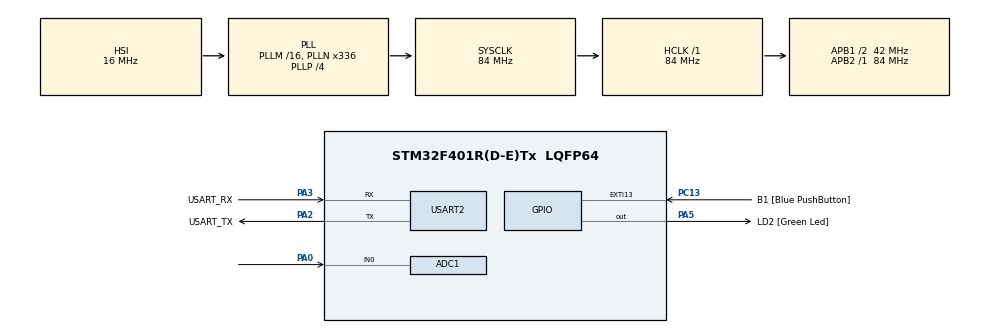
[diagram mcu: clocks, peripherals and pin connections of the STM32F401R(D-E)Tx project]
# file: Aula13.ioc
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ADC1.Channel-0\#ChannelRegularConversion=ADC_CHANNEL_TEMPSENSOR
ADC1.Channel-2\#ChannelRegularConversion=ADC_CHANNEL_VREFINT
ADC1.Channel-3\#ChannelRegularConversion=ADC_CHANNEL_0
ADC1.Channel-4\#ChannelRegularConversion=ADC_CHANNEL_0
ADC1.NbrOfConversion=4
ADC1.NbrOfConversionFlag=1
ADC1.Rank-0\#ChannelRegularConversion=1
ADC1.Rank-2\#ChannelRegularConversion=2
ADC1.Rank-3\#ChannelRegularConversion=3
ADC1.Rank-4\#ChannelRegularConversion=4
ADC1.SamplingTime-0\#ChannelRegularConversion=ADC_SAMPLETIME_480CYCLES
ADC1.SamplingTime-2\#ChannelRegularConversion=ADC_SAMPLETIME_480CYCLES
ADC1.SamplingTime-3\#ChannelRegularConversion=ADC_SAMPLETIME_3CYCLES
ADC1.SamplingTime-4\#ChannelRegularConversion=ADC_SAMPLETIME_3CYCLES
ADC1.master=1
Dma.Request0=USART2_TX
Dma.USART2_TX.0.Direction=DMA_MEMORY_TO_PERIPH
Dma.USART2_TX.0.FIFOMode=DMA_FIFOMODE_DISABLE
Dma.USART2_TX.0.Instance=DMA1_Stream6
Dma.USART2_TX.0.MemDataAlignment=DMA_MDATAALIGN_BYTE
Dma.USART2_TX.0.MemInc=DMA_MINC_ENABLE
Dma.USART2_TX.0.Mode=DMA_NORMAL
Dma.USART2_TX.0.PeriphDataAlignment=DMA_PDATAALIGN_BYTE
Dma.USART2_TX.0.PeriphInc=DMA_PINC_DISABLE
Dma.USART2_TX.0.Priority=DMA_PRIORITY_LOW
Mcu.Family=STM32F4
Mcu.Name=STM32F401R(D-E)Tx
Mcu.Package=LQFP64
NVIC.ADC_IRQn=true\:0\:0\:false\:false\:true\:true\:true\:true
NVIC.DMA1_Stream6_IRQn=true\:14\:0\:true\:false\:true\:false\:true\:true
NVIC.PriorityGroup=NVIC_PRIORITYGROUP_4
NVIC.USART2_IRQn=true\:15\:0\:true\:false\:true\:true\:true\:true
PA0-WKUP.Signal=ADCx_IN0
PA13.GPIO_Label=TMS
PA13.Mode=Trace_Asynchronous_SW
PA13.Signal=SYS_JTMS-SWDIO
PA14.GPIO_Label=TCK
PA14.Mode=Trace_Asynchronous_SW
PA14.Signal=SYS_JTCK-SWCLK
PA2.GPIO_Label=USART_TX
PA2.GPIO_Mode=GPIO_MODE_AF_PP
PA2.GPIO_PuPd=GPIO_NOPULL
PA2.GPIO_Speed=GPIO_SPEED_FREQ_LOW
PA2.Mode=Asynchronous
PA2.Signal=USART2_TX
PA3.GPIO_Label=USART_RX
PA3.GPIO_Mode=GPIO_MODE_AF_PP
PA3.GPIO_PuPd=GPIO_NOPULL
PA3.GPIO_Speed=GPIO_SPEED_FREQ_LOW
PA3.Mode=Asynchronous
PA3.Signal=USART2_RX
PA5.GPIO_Label=LD2 [Green Led]
PA5.GPIO_Mode=GPIO_MODE_OUTPUT_PP
PA5.GPIO_PuPd=GPIO_NOPULL
PA5.GPIO_Speed=GPIO_SPEED_FREQ_LOW
PA5.Signal=GPIO_Output
PB3.GPIO_Label=SWO
PB3.Mode=Trace_Asynchronous_SW
PB3.Signal=SYS_JTDO-SWO
PC13-ANTI_TAMP.GPIO_Label=B1 [Blue PushButton]
PC13-ANTI_TAMP.GPIO_ModeDefaultEXTI=GPIO_MODE_IT_FALLING
PC13-ANTI_TAMP.GPIO_PuPd=GPIO_NOPULL
PC13-ANTI_TAMP.Signal=GPXTI13
PC14-OSC32_IN.Mode=LSE-External-Oscillator
PC14-OSC32_IN.Signal=RCC_OSC32_IN
PC15-OSC32_OUT.Mode=LSE-External-Oscillator
PC15-OSC32_OUT.Signal=RCC_OSC32_OUT
PH0\ -\ OSC_IN.Mode=HSE-External-Clock-Source
PH0\ -\ OSC_IN.Signal=RCC_OSC_IN
PH1\ -\ OSC_OUT.Mode=HSE-External-Clock-Source
PH1\ -\ OSC_OUT.Signal=RCC_OSC_OUT
ProjectManager.HeapSize=0x200
ProjectManager.StackSize=0x400
ProjectManager.TargetToolchain=STM32CubeIDE
RCC.48MHZClocksFreq_Value=48000000
RCC.AHBFreq_Value=84000000
RCC.APB1CLKDivider=RCC_HCLK_DIV2
RCC.APB1Freq_Value=42000000
RCC.APB1TimFreq_Value=84000000
RCC.APB2Freq_Value=84000000
RCC.APB2TimFreq_Value=84000000
RCC.CortexFreq_Value=84000000
RCC.HCLKFreq_Value=84000000
RCC.HSE_VALUE=8000000
RCC.HSI_VALUE=16000000
RCC.PLLN=336
RCC.PLLP=RCC_PLLP_DIV4
RCC.PLLQ=7
RCC.SYSCLKFreq_VALUE=84000000
RCC.SYSCLKSource=RCC_SYSCLKSOURCE_PLLCLK
RCC.VCOOutputFreq_Value=336000000
SH.ADCx_IN0.0=ADC1_IN0,IN0
USART2.VirtualMode=VM_ASYNC
VP_ADC1_TempSens_Input.Mode=IN-TempSens
VP_ADC1_Vref_Input.Mode=IN-Vrefint
board=NUCLEO-F401RE

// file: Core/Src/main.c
/* USER CODE BEGIN Header */
/**
  ******************************************************************************
  * @file           : main.c
  * @brief          : Main program body
  ******************************************************************************
  * @attention
  *
  * Copyright (c) 2026 STMicroelectronics.
  * All rights reserved.
  *
  * This software is licensed under terms that can be found in the LICENSE file
  * in the root directory of this software component.
  * If no LICENSE file comes with this software, it is provided AS-IS.
  *
  ******************************************************************************
  */
/* USER CODE END Header */
#include "main.h"

/* USER CODE BEGIN Includes */
#include <stdio.h>    /* printf */
#include <strings.h>  /* strcasecmp: compara o texto com "help" sem ligar para maiúsculas */
/* USER CODE END Includes */

/* USER CODE BEGIN PD */
#define RX_TAM 64     /* tamanho máximo da linha (63 caracteres + '\0') */
/* USER CODE END PD */

ADC_HandleTypeDef hadc1;

UART_HandleTypeDef huart2;
DMA_HandleTypeDef hdma_usart2_tx;

/* USER CODE BEGIN PV */
uint8_t ui8_rxByte;                    /* a interrupção recebe 1 byte por vez aqui */
uint8_t ui8_rxBuf[RX_TAM];             /* os bytes vão sendo juntados aqui até formar a linha */
volatile uint16_t ui16_rxIdx = 0;      /* posição do próximo byte no buffer (volatile: muda na interrupção) */
volatile uint8_t ui8_linhaPronta = 0;  /* 1 = chegou \r ou \n, a linha está pronta para tratar */
/* USER CODE END PV */

void SystemClock_Config(void);
static void MX_GPIO_Init(void);
static void MX_DMA_Init(void);
static void MX_USART2_UART_Init(void);
static void MX_ADC1_Init(void);
/* USER CODE BEGIN PFP */
static void trataLinhaRecebida(void);  /* protótipo: a função fica lá embaixo, no USER CODE 4 */
/* USER CODE END PFP */

int main(void)
{

  /* MCU Configuration--------------------------------------------------------*/

  /* Reset of all peripherals, Initializes the Flash interface and the Systick. */
  HAL_Init();

  /* Configure the system clock */
  SystemClock_Config();

  /* Initialize all configured peripherals */
  MX_GPIO_Init();
  MX_DMA_Init();
  MX_USART2_UART_Init();
  MX_ADC1_Init();
  /* USER CODE BEGIN 2 */
  setvbuf(stdout, NULL, _IONBF, 0);              /* printf sai na hora, sem esperar o buffer encher */
  printf("Aula13 pronta (USART2 @ 115200)\r\n"); /* mensagem de partida no Supervisório */
  HAL_UART_Receive_IT(&huart2, &ui8_rxByte, 1);  /* liga a recepção: avisa por interrupção a cada 1 byte */
  /* USER CODE END 2 */

  /* Infinite loop */
  /* USER CODE BEGIN WHILE */
  uint32_t li_tempoAtual = 0;
  uint32_t ADC_tempoAtual = 0;
  while (1)
  {
	  if (HAL_GetTick() - li_tempoAtual >= 500)
	      {
	        li_tempoAtual = HAL_GetTick();
	        HAL_GPIO_TogglePin(LD2_GPIO_Port, LD2_Pin);
	        // HAL_Delay(500);
	        //printf("oi");
	      }

	  /* A interrupção só junta os bytes; quem responde é o loop,
	     porque printf é lento e não pode rodar dentro da interrupção */
	  if (ui8_linhaPronta)
	  {
	    trataLinhaRecebida();
	  }
		  if (HAL_GetTick() - ADC_tempoAtual >= 1000)
		  {
		      ADC_tempoAtual = HAL_GetTick();

		      uint16_t R1ADC = 0, R2ADC = 0,R3ADC = 0;
		      HAL_ADC_Start(&hadc1);
		      if (HAL_ADC_PollForConversion(&hadc1, 100) == HAL_OK)
		          R1ADC = HAL_ADC_GetValue(&hadc1);            /* rank 1: sensor de temperatura */
		      if (HAL_ADC_PollForConversion(&hadc1, 100) == HAL_OK)
		          R2ADC = HAL_ADC_GetValue(&hadc1);          /* rank 2: VREFINT */
		      if (HAL_ADC_PollForConversion(&hadc1, 100) == HAL_OK)
		    	  R3ADC = HAL_ADC_GetValue(&hadc1); /* rank 2: canal 0 */
		      if (HAL_ADC_PollForConversion(&hadc1, 100) == HAL_OK)
		    	  R3ADC = HAL_ADC_GetValue(&hadc1);/* rank 2: canal 0  */

		      if (R2ADC == 0)                                  /* poll falhou: evita dividir por zero */
		      {
		          printf("[%8lu] erro na leitura do ADC\r\n", (unsigned long)ADC_tempoAtual);
		      }
		      else
		      {
		          /* VREFINT lido + valor de calibração de fábrica -> VDDA real em mV */
		          uint32_t vdda_mV = __LL_ADC_CALC_VREFANALOG_VOLTAGE(R2ADC, LL_ADC_RESOLUTION_12B);

		          /* leitura do sensor + VDDA + calibração de fábrica -> °C (graus inteiros) */
		          int32_t temp_C = __LL_ADC_CALC_TEMPERATURE(vdda_mV, R1ADC, LL_ADC_RESOLUTION_12B);

		          printf("[%8lu] temp: raw=%4u -> %ld C | vrefint: raw=%4u -> VDDA=%lu mV\r\n",
		                 (unsigned long)ADC_tempoAtual,
		                 R1ADC, (long)temp_C,
		                 R2ADC, (unsigned long)vdda_mV);
		      }
		  }
    /* USER CODE END WHILE */

  }
}

void SystemClock_Config(void)
{
  RCC_OscInitTypeDef RCC_OscInitStruct = {0};
  RCC_ClkInitTypeDef RCC_ClkInitStruct = {0};

  /** Configure the main internal regulator output voltage
  */
  __HAL_RCC_PWR_CLK_ENABLE();
  __HAL_PWR_VOLTAGESCALING_CONFIG(PWR_REGULATOR_VOLTAGE_SCALE2);

  /** Initializes the RCC Oscillators according to the specified parameters
  * in the RCC_OscInitTypeDef structure.
  */
  RCC_OscInitStruct.OscillatorType = RCC_OSCILLATORTYPE_HSI;
  RCC_OscInitStruct.HSIState = RCC_HSI_ON;
  RCC_OscInitStruct.HSICalibrationValue = RCC_HSICALIBRATION_DEFAULT;
  RCC_OscInitStruct.PLL.PLLState = RCC_PLL_ON;
  RCC_OscInitStruct.PLL.PLLSource = RCC_PLLSOURCE_HSI;
  RCC_OscInitStruct.PLL.PLLM = 16;
  RCC_OscInitStruct.PLL.PLLN = 336;
  RCC_OscInitStruct.PLL.PLLP = RCC_PLLP_DIV4;
  RCC_OscInitStruct.PLL.PLLQ = 7;
  if (HAL_RCC_OscConfig(&RCC_OscInitStruct) != HAL_OK)
  {
    Error_Handler();
  }

  /** Initializes the CPU, AHB and APB buses clocks
  */
  RCC_ClkInitStruct.ClockType = RCC_CLOCKTYPE_HCLK|RCC_CLOCKTYPE_SYSCLK
                              |RCC_CLOCKTYPE_PCLK1|RCC_CLOCKTYPE_PCLK2;
  RCC_ClkInitStruct.SYSCLKSource = RCC_SYSCLKSOURCE_PLLCLK;
  RCC_ClkInitStruct.AHBCLKDivider = RCC_SYSCLK_DIV1;
  RCC_ClkInitStruct.APB1CLKDivider = RCC_HCLK_DIV2;
  RCC_ClkInitStruct.APB2CLKDivider = RCC_HCLK_DIV1;

  if (HAL_RCC_ClockConfig(&RCC_ClkInitStruct, FLASH_LATENCY_2) != HAL_OK)
  {
    Error_Handler();
  }
}

static void MX_ADC1_Init(void)
{

  ADC_ChannelConfTypeDef sConfig = {0};

  /** Configure the global features of the ADC (Clock, Resolution, Data Alignment and number of conversion)
  */
  hadc1.Instance = ADC1;
  hadc1.Init.ClockPrescaler = ADC_CLOCK_SYNC_PCLK_DIV4;
  hadc1.Init.Resolution = ADC_RESOLUTION_12B;
  hadc1.Init.ScanConvMode = ENABLE;
  hadc1.Init.ContinuousConvMode = DISABLE;
  hadc1.Init.DiscontinuousConvMode = DISABLE;
  hadc1.Init.ExternalTrigConvEdge = ADC_EXTERNALTRIGCONVEDGE_NONE;
  hadc1.Init.ExternalTrigConv = ADC_SOFTWARE_START;
  hadc1.Init.DataAlign = ADC_DATAALIGN_RIGHT;
  hadc1.Init.NbrOfConversion = 4;
  hadc1.Init.DMAContinuousRequests = DISABLE;
  hadc1.Init.EOCSelection = ADC_EOC_SINGLE_CONV;
  if (HAL_ADC_Init(&hadc1) != HAL_OK)
  {
    Error_Handler();
  }

  /** Configure for the selected ADC regular channel its corresponding rank in the sequencer and its sample time.
  */
  sConfig.Channel = ADC_CHANNEL_TEMPSENSOR;
  sConfig.Rank = 1;
  sConfig.SamplingTime = ADC_SAMPLETIME_480CYCLES;
  if (HAL_ADC_ConfigChannel(&hadc1, &sConfig) != HAL_OK)
  {
    Error_Handler();
  }

  /** Configure for the selected ADC regular channel its corresponding rank in the sequencer and its sample time.
  */
  sConfig.Channel = ADC_CHANNEL_VREFINT;
  sConfig.Rank = 2;
  if (HAL_ADC_ConfigChannel(&hadc1, &sConfig) != HAL_OK)
  {
    Error_Handler();
  }

  /** Configure for the selected ADC regular channel its corresponding rank in the sequencer and its sample time.
  */
  sConfig.Channel = ADC_CHANNEL_0;
  sConfig.Rank = 3;
  sConfig.SamplingTime = ADC_SAMPLETIME_3CYCLES;
  if (HAL_ADC_ConfigChannel(&hadc1, &sConfig) != HAL_OK)
  {
    Error_Handler();
  }

  /** Configure for the selected ADC regular channel its corresponding rank in the sequencer and its sample time.
  */
  sConfig.Rank = 4;
  if (HAL_ADC_ConfigChannel(&hadc1, &sConfig) != HAL_OK)
  {
    Error_Handler();
  }

}

static void MX_USART2_UART_Init(void)
{

  huart2.Instance = USART2;
  huart2.Init.BaudRate = 115200;
  huart2.Init.WordLength = UART_WORDLENGTH_8B;
  huart2.Init.StopBits = UART_STOPBITS_1;
  huart2.Init.Parity = UART_PARITY_NONE;
  huart2.Init.Mode = UART_MODE_TX_RX;
  huart2.Init.HwFlowCtl = UART_HWCONTROL_NONE;
  huart2.Init.OverSampling = UART_OVERSAMPLING_16;
  if (HAL_UART_Init(&huart2) != HAL_OK)
  {
    Error_Handler();
  }

}

static void MX_DMA_Init(void)
{

  /* DMA controller clock enable */
  __HAL_RCC_DMA1_CLK_ENABLE();

  /* DMA interrupt init */
  /* DMA1_Stream6_IRQn interrupt configuration */
  HAL_NVIC_SetPriority(DMA1_Stream6_IRQn, 14, 0);
  HAL_NVIC_EnableIRQ(DMA1_Stream6_IRQn);

}

static void MX_GPIO_Init(void)
{
  GPIO_InitTypeDef GPIO_InitStruct = {0};

  /* GPIO Ports Clock Enable */
  __HAL_RCC_GPIOC_CLK_ENABLE();
  __HAL_RCC_GPIOH_CLK_ENABLE();
  __HAL_RCC_GPIOA_CLK_ENABLE();
  __HAL_RCC_GPIOB_CLK_ENABLE();

  /*Configure GPIO pin Output Level */
  HAL_GPIO_WritePin(LD2_GPIO_Port, LD2_Pin, GPIO_PIN_RESET);

  /*Configure GPIO pin : B1_Pin */
  GPIO_InitStruct.Pin = B1_Pin;
  GPIO_InitStruct.Mode = GPIO_MODE_IT_FALLING;
  GPIO_InitStruct.Pull = GPIO_NOPULL;
  HAL_GPIO_Init(B1_GPIO_Port, &GPIO_InitStruct);

  /*Configure GPIO pin : LD2_Pin */
  GPIO_InitStruct.Pin = LD2_Pin;
  GPIO_InitStruct.Mode = GPIO_MODE_OUTPUT_PP;
  GPIO_InitStruct.Pull = GPIO_NOPULL;
  GPIO_InitStruct.Speed = GPIO_SPEED_FREQ_LOW;
  HAL_GPIO_Init(LD2_GPIO_Port, &GPIO_InitStruct);

}

/* USER CODE BEGIN 4 */

/* Chamada pela HAL toda vez que 1 byte termina de chegar (efeito do HAL_UART_Receive_IT) */
void HAL_UART_RxCpltCallback(UART_HandleTypeDef *huart){
	if(huart == &huart2){                              /* garante que veio da USART2 */
		if(!ui8_linhaPronta){                          /* enquanto a linha anterior não for tratada, descarta */
			if(ui8_rxByte == '\r' || ui8_rxByte == '\n'){  /* fim de linha */
				if(ui16_rxIdx > 0){                    /* ignora linha vazia (o \n que vem depois do \r) */
					ui8_rxBuf[ui16_rxIdx] = '\0';      /* fecha a string para o strcasecmp/printf */
					ui8_linhaPronta = 1;               /* avisa o loop */
				}
			} else if(ui16_rxIdx < RX_TAM - 1){        /* ainda cabe (reserva 1 posição para o '\0') */
				ui8_rxBuf[ui16_rxIdx++] = ui8_rxByte;  /* guarda o byte e avança a posição */
			}                                          /* se não couber, o byte é perdido (linha truncada) */
		}
		HAL_UART_Receive_IT(&huart2, &ui8_rxByte, 1);  /* rearma: sem isso só recebe 1 byte e para */
	}
}

/* Chamada pela HAL quando dá erro na UART (ex.: overrun, byte chegou antes de ler o anterior).
   A HAL cancela a recepção no erro, então é preciso rearmar, senão a placa fica "surda" */
void HAL_UART_ErrorCallback(UART_HandleTypeDef *huart){
	if(huart == &huart2){
		HAL_UART_Receive_IT(&huart2, &ui8_rxByte, 1);
	}
}

/* Redireciona o printf para a USART2: tudo que o printf escreve sai pela serial */
int _write(int file, char *ptr, int len)
{
	(void)file;
	HAL_UART_Transmit(&huart2, (uint8_t *)ptr, (uint16_t)len, HAL_MAX_DELAY);
	//HAL_UART_Transmit_DMA(&huart2, (uint8_t *)ptr, (uint16_t)len);
	return len;
}

/* Antiga c(): decide o que responder para a linha recebida. Roda no loop, nunca na interrupção */
static void trataLinhaRecebida(void){
	if(strcasecmp((char *)ui8_rxBuf, "help") == 0){    /* retorna 0 quando iguais; aceita help, HELP, Help... */
		printf("Comandos:\r\n  help - mostra esta lista\r\n  <texto> - devolve o texto\r\n");
	} else {
		printf("%s\r\n", (char *)ui8_rxBuf);           /* não é comando: eco do que chegou */
	}
	ui16_rxIdx = 0;        /* zera a posição primeiro... */
	ui8_linhaPronta = 0;   /* ...e só depois libera a interrupção para montar a próxima linha */
}
/* USER CODE END 4 */

void Error_Handler(void)
{
  __disable_irq();
  while (1)
  {
  }
}
